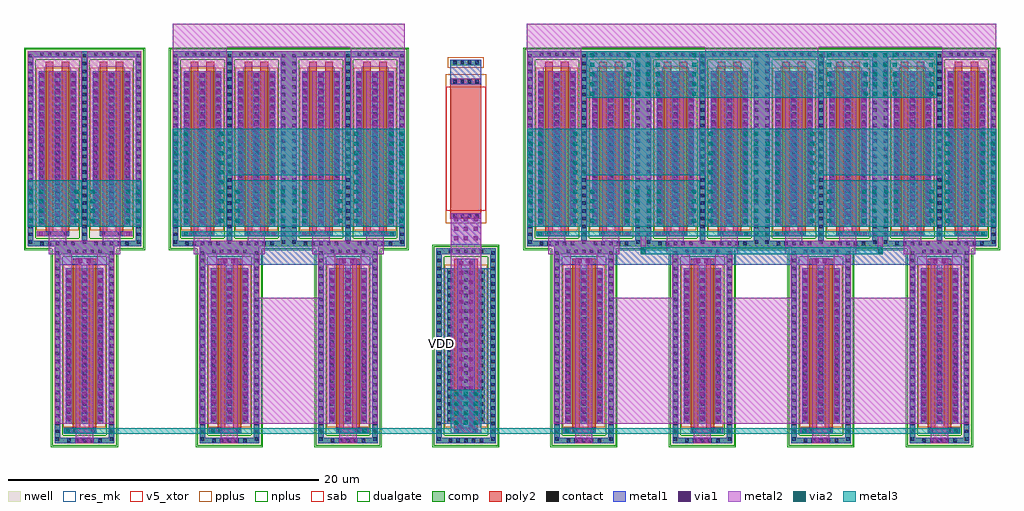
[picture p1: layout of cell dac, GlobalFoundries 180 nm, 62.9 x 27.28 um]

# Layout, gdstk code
from math import pi, radians
import gdstk
lib = gdstk.Library(unit=1e-6, precision=1e-09)
def R(c, l, rs):  # rectangles x0, y0, x1, y1
    for r in rs: c.add(gdstk.rectangle(r[:2], r[2:], *l))
def A(c, l, x, y, w, h, nx, ny, dx, dy):  # array of equal rectangles
    R(c, l, [(x+i*dx, y+j*dy, x+i*dx+w, y+j*dy+h) for i in range(nx) for j in range(ny)])
def P(c, l, *ps):  # polygons
    for p in ps: c.add(gdstk.Polygon(p, *l))
nwell = (21, 0)
comp = (22, 0)
poly2 = (30, 0)
pplus = (31, 0)
nplus = (32, 0)
contact = (33, 0)
metal1 = (34, 0)
via1 = (35, 0)
metal2 = (36, 0)
via2 = (38, 0)
metal3 = (42, 0)
sab = (49, 0)
dualgate = (55, 0)
res_mk = (110, 5)
v5_xtor = (112, 1)

pfet = lib.new_cell('pfet')
R(pfet, nwell, [(-0.88,-1.44,3.28,11.44)])
R(pfet, comp, [(0,0,2.4,10)])
P(pfet, comp, [(-0.72,-1.28),(-0.72,10.92),(-0.36,10.92),(-0.36,-0.92),(2.76,-0.92),(2.76,10.92),(-0.72,10.92),(-0.72,11.28),(3.12,11.28),(3.12,-1.28)])
R(pfet, poly2, [(0.44,-0.62,0.94,10.62), (1.46,-0.62,1.96,10.62)])
R(pfet, pplus, [(-0.16,-0.23,2.56,10.23)])
P(pfet, nplus, [(-0.88,-1.44),(-0.88,10.76),(-0.2,10.76),(-0.2,-0.76),(2.6,-0.76),(2.6,10.76),(-0.88,10.76),(-0.88,11.44),(3.28,11.44),(3.28,-1.44)])
A(pfet, contact, 0.09, -1.21, 0.22, 0.22, 5, 2, 0.5, 12.2)
A(pfet, contact, -0.65, -1.11, 0.22, 0.22, 1, 25, 0, 0.5)
A(pfet, contact, 2.83, -1.11, 0.22, 0.22, 1, 25, 0, 0.5)
A(pfet, contact, 0.07, 0.14, 0.22, 0.22, 3, 20, 1.02, 0.5)
A(pfet, metal1, -0.01, -0.01, 0.38, 10.02, 3, 1, 1.02, 0)
P(pfet, metal1, [(-0.72,-1.28),(-0.72,10.92),(-0.36,10.92),(-0.36,-0.92),(2.76,-0.92),(2.76,10.92),(-0.72,10.92),(-0.72,11.28),(3.12,11.28),(3.12,-1.28)])
R(pfet, dualgate, [(-0.96,-1.52,3.36,11.52)])
R(pfet, v5_xtor, [(-0.96,-1.52,3.36,11.52)])

dac_cell = lib.new_cell('dac_cell')
R(dac_cell, comp, [(1.98,12.8,5.82,12.94)])
R(dac_cell, poly2, [(3.64,0.9,4.16,1.22), (1.9,13.6,2.42,13.92), (5.38,13.6,5.9,13.92)])
R(dac_cell, contact, [(3.21,0.97,3.43,1.19), (4.335,0.97,4.555,1.19), (1.54,13.67,1.76,13.89), (2.56,13.67,2.78,13.89), (5.02,13.67,5.24,13.89), (6.04,13.67,6.26,13.89)])
R(dac_cell, metal1, [(2.57,0.9,2.67,1.26), (2.67,0.9,4.66,1.26), (3.71,11.53,4.09,12.44), (2.34,11.76,5.46,12.44), (1.98,12.8,5.82,12.94), (0.83,13.6,1.4,13.92), (1.4,13.6,2.92,13.92), (4.88,13.6,6.4,13.92), (6.4,13.6,6.97,13.92)])
A(dac_cell, via1, 2.75, 1.755, 0.26, 0.26, 3, 19, 1.02, 0.52)
A(dac_cell, via1, 1.01, 14.43, 0.26, 0.26, 3, 19, 1.02, 0.52)
A(dac_cell, via1, 4.49, 14.43, 0.26, 0.26, 3, 19, 1.02, 0.52)
R(dac_cell, via1, [(3.51,0.295,3.77,0.555), (4.03,0.295,4.29,0.555), (2.715,0.93,2.975,1.19), (3.51,11.84,3.77,12.1), (4.03,11.84,4.29,12.1), (0.945,13.63,1.205,13.89), (6.585,13.63,6.845,13.89)])
R(dac_cell, metal2, [(3.35,0.24,4.45,12.16), (2.6,0.87,3.07,1.23), (1.97,1.51,3.07,13.3), (4.73,1.51,5.83,13.3), (1.61,12.44,2.71,24.23), (1.97,12.44,5.83,13.3), (5.09,12.44,6.19,24.23), (0.83,13.6,1.33,13.92), (6.47,13.6,6.97,13.92), (0.24,14.21,1.33,24.23), (2.99,14.21,3.72,24.23), (4.08,14.21,4.81,24.23), (6.47,14.21,7.56,24.23), (0.24,24.23,1.33,25.5), (2.99,24.23,3.72,25.5), (4.08,24.23,4.81,25.5), (6.47,24.23,7.56,25.5), (1.33,24.51,2.99,25.5), (4.81,24.51,6.47,25.5)])
A(dac_cell, via2, 0.345, 14.47, 0.26, 0.26, 1, 4, 0, 0.62)
A(dac_cell, via2, 0.965, 14.47, 0.26, 0.26, 1, 4, 0, 0.62)
A(dac_cell, via2, 3.225, 14.47, 0.26, 0.26, 1, 4, 0, 0.62)
A(dac_cell, via2, 4.315, 14.47, 0.26, 0.26, 1, 4, 0, 0.62)
A(dac_cell, via2, 6.575, 14.47, 0.26, 0.26, 1, 4, 0, 0.62)
A(dac_cell, via2, 7.195, 14.47, 0.26, 0.26, 1, 4, 0, 0.62)
R(dac_cell, metal3, [(0.24,14.21,3.72,17.21), (4.08,14.21,7.56,17.21)])
dac_cell.add(gdstk.Reference(pfet, (2.7,1.52)))
dac_cell.add(gdstk.Reference(pfet, (4.44,14.22)))
dac_cell.add(gdstk.Reference(pfet, (0.96,14.22)))
dac_cell.add(gdstk.Label('Dn', (1.07,13.78), layer=36, texttype=10))
dac_cell.add(gdstk.Label('Dp', (6.71,13.78), layer=36, texttype=10))
dac_cell.add(gdstk.Label('Outn', (2.225,24.995), layer=36, texttype=10))
dac_cell.add(gdstk.Label('Outp', (5.725,25.025), layer=36, texttype=10))
dac_cell.add(gdstk.Label('Vb', (2.81,1.075), layer=36, texttype=10))
dac_cell.add(gdstk.Label('VDD', (3.885,6.84), layer=36, texttype=10))

dac_cell_x2 = lib.new_cell('dac_cell_x2')
R(dac_cell_x2, comp, [(7.56,12.94,7.88,25.5)])
R(dac_cell_x2, metal1, [(5.82,11.76,9.62,12.94), (7.56,12.94,7.88,25.5)])
R(dac_cell_x2, metal2, [(5.83,1.51,9.61,9.62), (6.97,13.6,8.47,13.92), (7.56,14.21,7.88,25.5), (0.235,25.5,3.72,25.78), (11.72,25.5,15.2,25.78), (0.235,25.78,15.2,27.275)])
A(dac_cell_x2, via2, 0.345, 16.95, 0.26, 0.26, 1, 6, 0, 0.62)
A(dac_cell_x2, via2, 0.965, 16.95, 0.26, 0.26, 1, 6, 0, 0.62)
A(dac_cell_x2, via2, 3.225, 16.95, 0.26, 0.26, 1, 6, 0, 0.62)
A(dac_cell_x2, via2, 11.955, 16.95, 0.26, 0.26, 1, 6, 0, 0.62)
A(dac_cell_x2, via2, 14.215, 16.95, 0.26, 0.26, 1, 6, 0, 0.62)
A(dac_cell_x2, via2, 14.835, 16.95, 0.26, 0.26, 1, 6, 0, 0.62)
R(dac_cell_x2, via2, [(0.945,13.63,1.205,13.89), (14.235,13.63,14.495,13.89)])
R(dac_cell_x2, metal3, [(0.83,13.6,14.61,13.92), (7.56,14.21,7.88,17.21), (0.24,17.21,3.72,20.51), (11.72,17.21,15.2,20.51), (0.24,17.51,15.2,20.51)])
dac_cell_x2.add(gdstk.Reference(dac_cell, (0,0)))
dac_cell_x2.add(gdstk.Reference(dac_cell, (15.44,0), rotation=pi, x_reflection=True))
dac_cell_x2.add(gdstk.Label('Outn_x2', (7.717,26.527), layer=36, texttype=10))
dac_cell_x2.add(gdstk.Label('Outp_x2', (7.705,25.09), layer=36, texttype=10))

ppolyf_u_resistor = lib.new_cell('ppolyf_u_resistor')
R(ppolyf_u_resistor, comp, [(-1.73,0,-1.37,2)])
R(ppolyf_u_resistor, poly2, [(-0.51,0,8.51,2)])
R(ppolyf_u_resistor, pplus, [(-0.81,-0.3,8.81,2.3), (-1.89,-0.16,-1.21,2.16)])
A(ppolyf_u_resistor, contact, -1.66, 0.185, 0.22, 0.22, 1, 4, 0, 0.47)
A(ppolyf_u_resistor, contact, -0.44, 0.185, 0.22, 0.22, 1, 4, 0, 0.47)
A(ppolyf_u_resistor, contact, 8.22, 0.185, 0.22, 0.22, 1, 4, 0, 0.47)
R(ppolyf_u_resistor, metal1, [(-1.73,0,-1.37,2), (-0.5,0.01,-0.16,1.99), (8.16,0.01,8.5,1.99)])
R(ppolyf_u_resistor, sab, [(0,-0.28,8,2.28)])
R(ppolyf_u_resistor, res_mk, [(0,0,8,2)])

c_cs = lib.new_cell('cs')
R(c_cs, poly2, [(1.9,0.9,2.42,1.22)])
R(c_cs, contact, [(1.47,0.97,1.69,1.19), (2.595,0.97,2.815,1.19)])
R(c_cs, metal1, [(1.4,0.9,2.92,1.22), (1.59,0.9,2.73,12.14), (0.24,1.51,1.33,11.53), (2.99,1.51,4.08,11.53), (1.17,13.03,3.15,14.735), (1.16,23.735,3.15,24.605)])
A(c_cs, via1, 1.72, 1.185, 0.26, 0.26, 1, 6, 0, 0.62)
A(c_cs, via1, 2.34, 1.185, 0.26, 0.26, 1, 6, 0, 0.62)
A(c_cs, via1, 1.72, 4.9, 0.26, 0.26, 1, 6, 0, 0.62)
A(c_cs, via1, 2.34, 4.9, 0.26, 0.26, 1, 6, 0, 0.62)
A(c_cs, via1, 1.72, 8.625, 0.26, 0.26, 1, 6, 0, 0.62)
A(c_cs, via1, 2.34, 8.625, 0.26, 0.26, 1, 6, 0, 0.62)
A(c_cs, via1, 1.41, 13.33, 0.26, 0.26, 3, 3, 0.62, 0.62)
R(c_cs, metal2, [(1.17,0.895,3.15,15.075)])
c_cs.add(gdstk.Reference(pfet, (0.96,1.52)))
c_cs.add(gdstk.Reference(ppolyf_u_resistor, (1.16,23.235), rotation=3*pi/2))
c_cs.add(gdstk.Label('Vbout', (2.17,7.265), layer=36, texttype=10))
c_cs.add(gdstk.Label('GND', (2.14,23.59), layer=34, texttype=10))

dac_cell_x4 = lib.new_cell('dac_cell_x4')
R(dac_cell_x4, comp, [(15.2,12.94,15.52,25.5)])
R(dac_cell_x4, metal1, [(13.46,11.76,17.26,12.94), (15.2,12.94,15.52,25.5)])
R(dac_cell_x4, metal2, [(13.47,1.51,17.25,9.62), (7.555,12.415,7.885,13.92), (22.835,12.415,23.165,13.92), (15.2,14.21,15.52,27.275)])
A(dac_cell_x4, via2, 4.315, 22.65, 0.26, 0.26, 1, 5, 0, 0.62)
A(dac_cell_x4, via2, 6.66, 22.65, 0.26, 0.26, 4, 5, 0.62, 0.62)
A(dac_cell_x4, via2, 10.875, 22.65, 0.26, 0.26, 1, 5, 0, 0.62)
A(dac_cell_x4, via2, 19.595, 22.65, 0.26, 0.26, 1, 5, 0, 0.62)
A(dac_cell_x4, via2, 21.94, 22.65, 0.26, 0.26, 4, 5, 0.62, 0.62)
A(dac_cell_x4, via2, 26.145, 22.65, 0.26, 0.26, 1, 5, 0, 0.62)
R(dac_cell_x4, via2, [(7.59,12.5,7.85,12.76), (22.87,12.5,23.13,12.76)])
R(dac_cell_x4, metal3, [(7.555,12.415,23.165,12.865), (14.61,13.6,16.11,13.92), (15.2,14.21,15.52,20.51), (4.08,22.5,26.64,25.5)])
dac_cell_x4.add(gdstk.Reference(dac_cell_x2, (0,0)))
dac_cell_x4.add(gdstk.Reference(dac_cell_x2, (15.28,0)))
dac_cell_x4.add(gdstk.Label('Outn_x4', (15.515,26.528), layer=36, texttype=10))
dac_cell_x4.add(gdstk.Label('Outp_x4', (15.52,24.23), layer=42, texttype=10))

dac = lib.new_cell('dac')
A(dac, via2, 27.73, 1.435, 0.26, 0.26, 3, 4, 0.62, 0.62)
R(dac, via2, [(59.935,0.92,60.195,1.18), (2.705,0.925,2.965,1.185), (12.045,0.925,12.305,1.185), (21.815,0.925,22.075,1.185), (34.885,0.925,35.145,1.185), (44.655,0.925,44.915,1.185), (50.165,0.925,50.425,1.185)])
R(dac, metal3, [(2.6,0.87,60.3,1.23), (27.49,0.87,29.47,3.69)])
dac.add(gdstk.Reference(dac_cell_x2, (9.34,0)))
dac.add(gdstk.Reference(dac_cell, (0,0)))
dac.add(gdstk.Reference(c_cs, (26.32,0)))
dac.add(gdstk.Reference(dac_cell_x4, (32.18,0)))
dac.add(gdstk.Label('VDD', (26.92,6.695), layer=34, texttype=10))

lib.write_gds('dac.gds')
